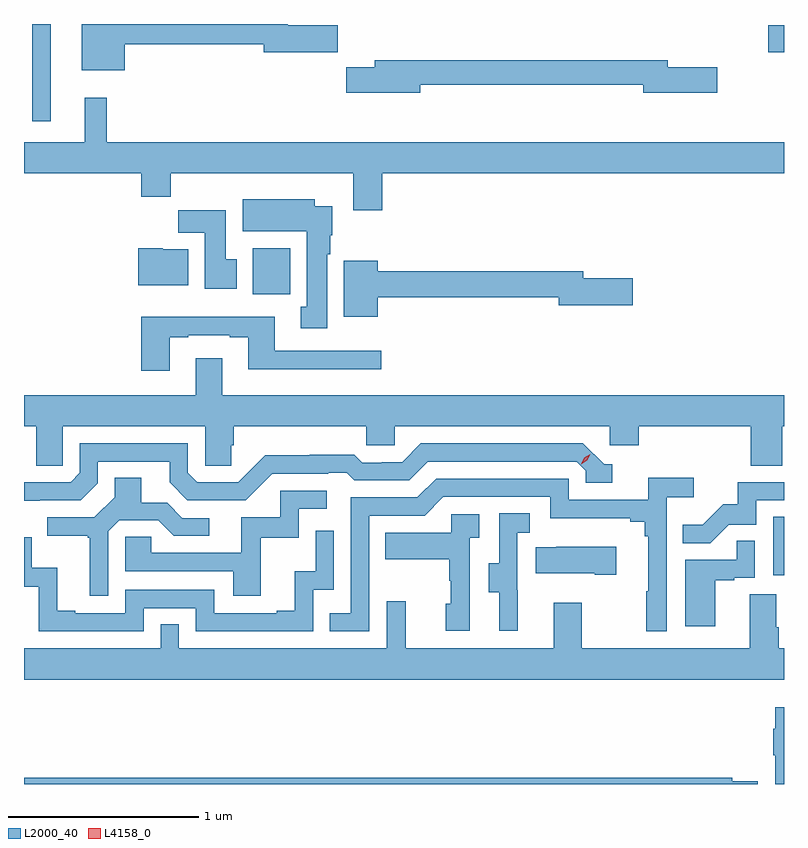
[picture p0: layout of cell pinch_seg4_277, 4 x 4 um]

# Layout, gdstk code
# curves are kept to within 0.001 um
import gdstk
lib = gdstk.Library(unit=1e-6, precision=1e-09)
def R(c, l, rs):  # rectangles x0, y0, x1, y1
    for r in rs: c.add(gdstk.rectangle(r[:2], r[2:], *l))
def P(c, l, *ps):  # polygons
    for p in ps: c.add(gdstk.Polygon(p, *l))
L2000_40 = (2000, 40)
L4158_0 = (4158, 0)

pinch_seg4_277 = lib.new_cell('pinch_seg4_277')
R(pinch_seg4_277, L2000_40, [(926.156,806.694,926.213,807.001), (923.417,808.172,923.614,808.414), (922.257,809.082,922.354,809.594), (926.13,809.446,926.213,809.588)])
P(pinch_seg4_277, L2000_40, [(922.744,809.488),(923.474,809.488),(923.474,809.446),(923.863,809.446),(923.863,809.588),(923.602,809.588),(923.602,809.594),(922.517,809.594),(922.517,809.351),(922.744,809.351)],
  [(924.298,809.274),(925.472,809.274),(925.472,809.231),(925.861,809.231),(925.861,809.366),(925.6,809.366),(925.6,809.402),(924.059,809.402),(924.059,809.366),(923.91,809.366),(923.91,809.231),(924.298,809.231)],
  [(924.098,808.808),(926.213,808.808),(926.213,808.972),(922.649,808.972),(922.649,809.206),(922.532,809.206),(922.532,808.972),(922.213,808.972),(922.213,808.808),(922.829,808.808),(922.829,808.684),(922.985,808.684),(922.985,808.808),(923.945,808.808),(923.945,808.614),(924.098,808.614)],
  [(923.809,808.382),(923.824,808.382),(923.824,808.482),(923.836,808.482),(923.836,808.636),(923.743,808.636),(923.743,808.672),(923.363,808.672),(923.363,808.502),(923.702,808.502),(923.702,808.106),(923.669,808.106),(923.669,807.993),(923.809,807.993)],
  [(923.332,808.356),(923.275,808.356),(923.275,808.614),(923.026,808.614),(923.026,808.496),(923.165,808.496),(923.165,808.2),(923.332,808.2)],
  [(923.077,808.408),(922.944,808.408),(922.944,808.414),(922.814,808.414),(922.814,808.22),(923.077,808.22)],
  [(924.076,808.156),(925.028,808.156),(925.028,808.114),(925.417,808.114),(925.417,808.256),(925.156,808.256),(925.156,808.292),(924.076,808.292),(924.076,808.348),(923.897,808.348),(923.897,808.052),(924.076,808.052)],
  [(922.981,807.945),(923.077,807.945),(923.077,807.957),(923.297,807.957),(923.297,807.945),(923.393,807.945),(923.393,807.776),(924.094,807.776),(924.094,807.873),(923.533,807.873),(923.533,808.054),(922.829,808.054),(922.829,807.768),(922.981,807.768)],
  [(922.416,807.476),(923.166,807.476),(923.166,807.268),(923.303,807.268),(923.303,807.378),(923.318,807.378),(923.318,807.476),(924.015,807.476),(924.015,807.378),(924.165,807.378),(924.165,807.476),(925.296,807.476),(925.296,807.378),(925.448,807.378),(925.448,807.476),(926.039,807.476),(926.039,807.268),(926.204,807.268),(926.204,807.476),(926.213,807.476),(926.213,807.64),(923.257,807.64),(923.257,807.835),(923.117,807.835),(923.117,807.64),(922.213,807.64),(922.213,807.476),(922.277,807.476),(922.277,807.268),(922.416,807.268)],
  [(922.296,807.087),(922.512,807.087),(922.602,807.177),(922.602,807.291),(922.979,807.291),(922.979,807.181),(923.073,807.087),(923.379,807.087),(923.52,807.228),(923.813,807.228),(923.813,807.231),(923.912,807.231),(923.951,807.192),(924.24,807.192),(924.339,807.291),(925.122,807.291),(925.17,807.243),(925.17,807.18),(925.309,807.18),(925.309,807.276),(925.266,807.276),(925.155,807.387),(924.302,807.387),(924.203,807.288),(924.096,807.288),(924.096,807.285),(923.993,807.285),(923.951,807.328),(923.718,807.328),(923.718,807.325),(923.482,807.325),(923.34,807.183),(923.124,807.183),(923.076,807.231),(923.076,807.387),(922.506,807.387),(922.506,807.231),(922.458,807.183),(922.213,807.183),(922.213,807.086)],
  [(924.03,807.006),(924.321,807.006),(924.42,807.105),(924.984,807.105),(924.984,806.993),(925.403,806.993),(925.403,806.974),(925.48,806.974),(925.48,806.897),(925.499,806.897),(925.499,806.609),(925.488,806.609),(925.488,806.397),(925.596,806.397),(925.596,807.104),(925.738,807.104),(925.738,807.206),(925.499,807.206),(925.499,807.09),(925.08,807.09),(925.08,807.201),(924.383,807.201),(924.284,807.102),(923.934,807.102),(923.934,806.493),(923.821,806.493),(923.821,806.397),(924.03,806.397)],
  [(922.656,806.925),(922.713,806.982),(922.919,806.982),(923,806.901),(923.188,806.901),(923.188,806.994),(923.046,806.994),(922.966,807.074),(922.831,807.074),(922.831,807.206),(922.691,807.206),(922.691,807.104),(922.584,806.997),(922.335,806.997),(922.335,806.9),(922.548,806.9),(922.548,806.889),(922.559,806.889),(922.559,806.586),(922.656,806.586)],
  [(925.923,806.958),(926.067,806.958),(926.067,807.087),(926.213,807.087),(926.213,807.183),(925.969,807.183),(925.969,807.066),(925.892,807.066),(925.785,806.959),(925.681,806.959),(925.681,806.86),(925.825,806.86)],
  [(923.459,806.889),(923.658,806.889),(923.658,807.042),(923.806,807.042),(923.806,807.138),(923.562,807.138),(923.562,806.997),(923.357,806.997),(923.357,806.811),(922.883,806.811),(922.883,806.895),(922.746,806.895),(922.746,806.715),(923.315,806.715),(923.315,806.586),(923.459,806.586)],
  [(924.812,806.613),(924.81,806.613),(924.81,806.917),(924.874,806.917),(924.874,807.02),(924.714,807.02),(924.714,806.757),(924.659,806.757),(924.659,806.602),(924.713,806.602),(924.713,806.4),(924.812,806.4)],
  [(924.558,806.891),(924.61,806.891),(924.61,807.015),(924.462,807.015),(924.462,806.917),(924.115,806.917),(924.115,806.777),(924.45,806.777),(924.45,806.663),(924.46,806.663),(924.46,806.544),(924.434,806.544),(924.434,806.4),(924.558,806.4)],
  [(922.842,806.52),(923.118,806.52),(923.118,806.397),(923.736,806.397),(923.736,806.616),(923.844,806.616),(923.844,806.926),(923.748,806.926),(923.748,806.714),(923.639,806.714),(923.639,806.506),(923.543,806.506),(923.543,806.493),(923.214,806.493),(923.214,806.616),(922.746,806.616),(922.746,806.493),(922.483,806.493),(922.483,806.506),(922.387,806.506),(922.387,806.731),(922.254,806.731),(922.254,806.892),(922.213,806.892),(922.213,806.633),(922.29,806.633),(922.29,806.397),(922.842,806.397)],
  [(925.852,806.667),(925.952,806.667),(925.952,806.679),(926.058,806.679),(926.058,806.873),(925.963,806.873),(925.963,806.775),(925.694,806.775),(925.694,806.424),(925.852,806.424)],
  [(925.33,806.842),(925.015,806.842),(925.015,806.839),(924.907,806.839),(924.907,806.702),(925.217,806.702),(925.217,806.695),(925.33,806.695)],
  [(926.213,806.308),(926.186,806.308),(926.186,806.42),(926.173,806.42),(926.173,806.594),(926.033,806.594),(926.033,806.308),(925.149,806.308),(925.149,806.548),(925.001,806.548),(925.001,806.308),(924.221,806.308),(924.221,806.557),(924.123,806.557),(924.123,806.308),(923.028,806.308),(923.028,806.435),(922.932,806.435),(922.932,806.308),(922.213,806.308),(922.213,806.144),(926.213,806.144)],
  [(926.213,805.999),(926.168,805.999),(926.168,805.886),(926.156,805.886),(926.156,805.746),(926.168,805.746),(926.168,805.594),(926.213,805.594)],
  [(926.074,805.608),(925.94,805.608),(925.94,805.628),(922.213,805.628),(922.213,805.594),(926.074,805.594)])
P(pinch_seg4_277, L4158_0, [(925.146,807.277),(925.146,807.277),(925.162,807.31),(925.192,807.33),(925.193,807.33),(925.193,807.329),(925.177,807.297),(925.146,807.277)])

lib.write_gds('pinch_seg4_277.gds')
